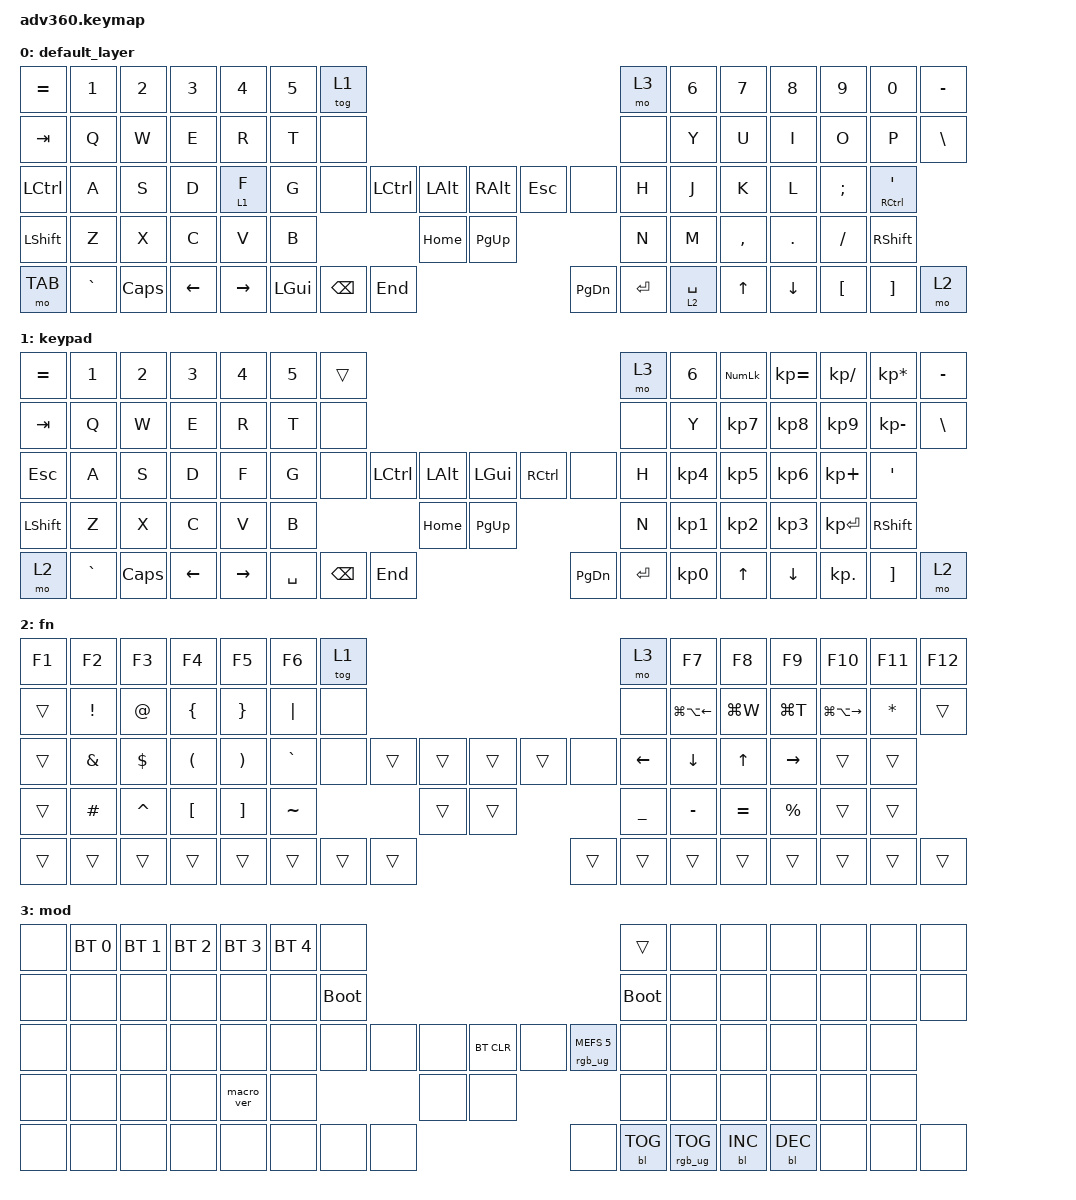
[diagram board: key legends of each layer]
#include <behaviors.dtsi>
#include <dt-bindings/zmk/keys.h>
#include <dt-bindings/zmk/bt.h>
#include <dt-bindings/zmk/rgb.h>
#include <dt-bindings/zmk/backlight.h>

#define HYP(key) LS(LC(LA(LG(key))))
#define HYPER    LS(LC(LA(LGUI)))

#define MACLOCK  LG(LC(Q))

#define BROWSER_SEARCH LG(F)
#define BROWSER_NEWTAB LG(T)
#define BROWSER_CLOSETTAB LG(W)
#define BROWSER_NEXTTAB LG(LA(RIGHT))
#define BROWSER_PREVTAB LG(LA(LEFT))

&mt {
    tapping-term-ms = <260>;
    flavor = "tap-preferred";
};

&lt {
    quick_tap_ms = <250>;
};

/ {
    behaviors {
      #include "macros.dtsi"
      #include "version.dtsi"
      #ifndef VERSION_MACRO
      macro_ver: macro_ver {
        compatible = "zmk,behavior-macro";
        label = "macro_version";
        #binding-cells = <0>;
        bindings = <&kp RET>;
      };
      #endif

      hm: homerow_mods {
          compatible = "zmk,behavior-hold-tap";
          label = "HOMEROW_MODS";
          #binding-cells = <2>;
          tapping-term-ms = <250>;
          quick_tap_ms = <225>;
          flavor = "tap-preferred";
          bindings = <&kp>, <&kp>;
      };
    };

  keymap {
    compatible = "zmk,keymap";

    default_layer {
      bindings = <
        &kp EQUAL &kp N1    &kp N2   &kp N3   &kp N4     &kp N5 &tog 1                                                           &mo 3       &kp N6   &kp N7  &kp N8     &kp N9    &kp N0    &kp MINUS
        &kp TAB   &kp Q     &kp W    &kp E    &kp R      &kp T  &none                                                            &none       &kp Y    &kp U   &kp I      &kp O     &kp P     &kp BSLH
        &kp LCTRL &kp A     &kp S    &kp D    &lt 1 F    &kp G  &none             &kp LCTRL &kp LALT &kp RALT  &kp ESC           &none &kp H    &kp J   &kp K      &kp L     &kp SEMI  &mt RCTRL SQT
        &kp LSHFT &kp Z     &kp X    &kp C    &kp V      &kp B                              &kp HOME &kp PG_UP                         &kp N    &kp M   &kp COMMA  &kp DOT   &kp FSLH  &kp RSHFT
        &mo TAB   &kp GRAVE &kp CAPS &kp LEFT &kp RIGHT                &kp LGUI &kp BSPC    &kp END  &kp PG_DN &kp ENTER &lt 2 SPACE                        &kp UP  &kp DOWN   &kp LBKT  &kp RBKT  &mo 2
      >;
    };
    keypad {
      bindings = <
        &kp EQUAL &kp N1    &kp N2   &kp N3   &kp N4     &kp N5 &trans                                                               &mo 3 &kp N6 &kp KP_NUM &kp KP_EQUAL &kp KP_DIVIDE &kp KP_MULTIPLY &kp MINUS
        &kp TAB   &kp Q     &kp W    &kp E    &kp R      &kp T  &none                                                                &none &kp Y  &kp KP_N7  &kp KP_N8    &kp KP_N9     &kp KP_MINUS    &kp BSLH
        &kp ESC   &kp A     &kp S    &kp D    &kp F      &kp G  &none            &kp LCTRL  &kp LALT &kp LGUI  &kp RCTRL             &none &kp H  &kp KP_N4  &kp KP_N5    &kp KP_N6     &kp KP_PLUS     &kp SQT
        &kp LSHFT &kp Z     &kp X    &kp C    &kp V      &kp B                              &kp HOME &kp PG_UP                             &kp N  &kp KP_N1  &kp KP_N2    &kp KP_N3     &kp KP_ENTER    &kp RSHFT
        &mo 2     &kp GRAVE &kp CAPS &kp LEFT &kp RIGHT                &kp SPACE &kp BSPC   &kp END  &kp PG_DN &kp ENTER &kp KP_N0                &kp UP     &kp DOWN     &kp KP_DOT    &kp RBKT        &mo 2
      >;
    };
    fn {
      bindings = <
        &kp F1 &kp F2     &kp F3     &kp F4     &kp F5     &kp F6      &tog 1                                             &mo 3  &kp F7               &kp F8                 &kp F9               &kp F10             &kp F11      &kp F12
        &trans &kp EXCL   &kp AT     &kp LBRC   &kp RBRC   &kp PIPE    &none                                              &none  &kp BROWSER_PREVTAB  &kp BROWSER_CLOSETTAB  &kp BROWSER_NEWTAB   &kp BROWSER_NEXTTAB &kp ASTERISK &trans
        &trans &kp AMPS   &kp DOLLAR &kp LPAR   &kp RPAR   &kp GRAVE   &none          &trans &trans &trans &trans         &none  &kp LEFT             &kp DOWN               &kp UP               &kp RIGHT           &trans       &trans
        &trans &kp HASH   &kp CARET  &kp LBKT   &kp RBKT   &kp TILDE                         &trans &trans                       &kp UNDER            &kp MINUS              &kp EQUAL            &kp PERCENT         &trans       &trans
        &trans &trans     &trans     &trans     &trans                         &trans &trans &trans &trans &trans &trans                              &trans                 &trans               &trans              &trans       &trans
      >;
    };
    mod {
      bindings = <
        &none &bt BT_SEL 0 &bt BT_SEL 1 &bt BT_SEL 2 &bt BT_SEL 3 &bt BT_SEL 4 &none                                                                     &trans                 &none        &none        &none        &none &none &none
        &none &none        &none        &none        &none        &none        &bootloader                                                               &bootloader            &none        &none        &none        &none &none &none
        &none &none        &none        &none        &none        &none        &none                   &none &none &bt BT_CLR &none                      &rgb_ug RGB_MEFS_CMD 5 &none        &none        &none        &none &none &none
        &none &none        &none        &none        &macro_ver   &none                                      &none &none                                                        &none        &none        &none        &none &none &none
        &none &none        &none        &none        &none                                       &none &none &none &none      &bl BL_TOG &rgb_ug RGB_TOG                                     &bl BL_INC   &bl BL_DEC   &none &none &none
      >;
    };
  };
};
